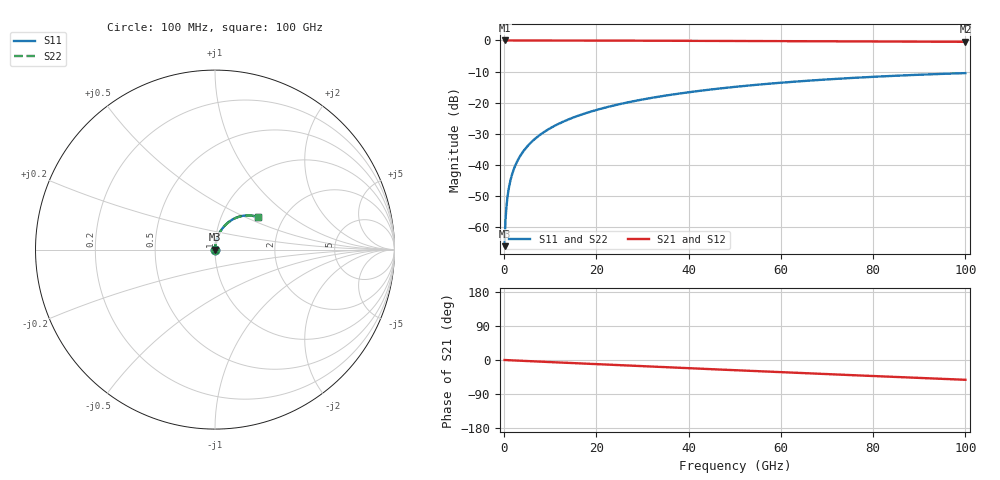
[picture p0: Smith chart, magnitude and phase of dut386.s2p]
! Touchstone file exported from HFSS 2026.1.0
!  File:  C:/ffzhzh/LocalFiles/Ansys_Project_Files/temp_train_TSV_386_1783510614_55944.aedt
!  Generated:  07:38:16 PM Jul  8, 2026
!  Design:  TSV
!  Project:  temp_train_TSV_386_1783510614_55944
! Variables:
!  h_bsmrdl = 2um
!  h_ox = 20um
!  h_rdl = 5um
!  h_sub = 98.35um
!  h_tmrdl = 5um
!  h_tsv = 98.35um
!  h_via = 3um
!  l_bsmrdl = 300um
!  l_sub = 414.86um
!  l_tmrdl = 200um
!  m_sub = 200um
!  pitch = 54.62um
!  r_tsv = 7.43um
!  s_tmrdl = 10um
!  w_bsmrdl = 18um
!  w_sub = 500um
!  w_tmrdl = 12um
!  x_tsv_center1 = 206um
!  x_tsv_center2 = 524um
!  x_tsv_center3 = 736um
!  x_tsv_center4 = 1054um
!  x_tsv_center5 = 1266um
!  x_tsv_center6 = 1584um
# GHz S MA R 50.000000
! Terminal data exported
! Port[1] = TSV1_1_T1
! Port[2] = TSV1_1_T2
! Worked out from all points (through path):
!   1000 points, 100 MHz to 100 GHz, reference 50 ohm
!   highest |S21| = 0.00 dB at 100 MHz (marker M1); lowest = -0.4 dB at 100 GHz (marker M2)
!   group delay of S21, straight-line fit = 1.45 ps
!   lowest |S11| = -66.1 dB at 100 MHz (marker M3), VSWR 1.00, Z = 50 + j0.0434 ohm
!   |S11| at or under -10 dB: start of sweep to end of sweep
!   |S22| runs from -66.1 to -10.5 dB; largest |S21 - S12| = 4.3e-15
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0.1  0.0004942 61.3  0.9998 -0.1  0.9998 -0.1  0.0004942 61.3
! Gamma 0 0 0 0
! Port Impedance 50 0 50 0
0.3  0.001316 78.1  0.9997 -0.2  0.9997 -0.2  0.001316 78.1
0.7  0.002958 82.9  0.9996 -0.4  0.9996 -0.4  0.002958 82.9
0.8  0.003363 83.3  0.9996 -0.5  0.9996 -0.5  0.003363 83.3
1  0.004169 83.9  0.9996 -0.6  0.9996 -0.6  0.004169 83.9
1.3  0.005371 84.4  0.9995 -0.7  0.9995 -0.7  0.005371 84.4
1.7  0.006961 84.8  0.9995 -1.0  0.9995 -1.0  0.006961 84.8
2.3  0.009324 84.9  0.9993 -1.3  0.9993 -1.3  0.009324 84.9
3  0.01205 84.9  0.9992 -1.7  0.9992 -1.7  0.01205 84.9
3.8  0.01515 84.8  0.9991 -2.1  0.9991 -2.1  0.01515 84.8
4.8  0.019 84.6  0.9989 -2.7  0.9989 -2.7  0.019 84.6
6  0.02362 84.3  0.9987 -3.3  0.9987 -3.3  0.02362 84.3
8.8  0.03433 83.1  0.9982 -4.8  0.9982 -4.8  0.03433 83.1
12.4  0.04798 81.5  0.9974 -6.8  0.9974 -6.8  0.04798 81.5
16.8  0.06448 79.3  0.9962 -9.2  0.9962 -9.2  0.06448 79.3
24.2  0.09173 75.6  0.9938 -13.2  0.9938 -13.2  0.09173 75.6
33.4  0.1245 70.8  0.9899 -18.1  0.9899 -18.1  0.1245 70.8
41.2  0.151 66.8  0.9859 -22.3  0.9859 -22.3  0.151 66.8
50.1  0.1797 62.2  0.9809 -26.9  0.9809 -26.9  0.1797 62.2
66.7  0.2277 53.7  0.9706 -35.5  0.9706 -35.5  0.2277 53.7
83.4  0.2678 45.4  0.96 -44.0  0.96 -44.0  0.2678 45.3
100  0.2986 37.2  0.9506 -52.2  0.9506 -52.2  0.2986 37.2
